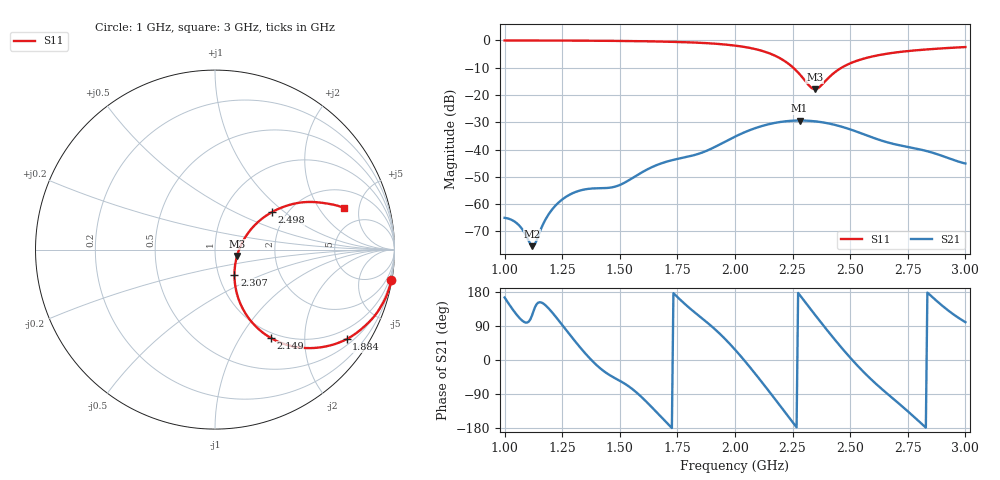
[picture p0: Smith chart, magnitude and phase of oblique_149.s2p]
! TOUCHSTONE file generated by CST MICROWAVE STUDIO
! Date and time: Tue Mar 18 00:02:23 2025
! Project name: oblique.cst
! Parameters = {Tilt=40; Fracture=1; B=10; D=160; F=25; Feed=2.85625; L=100; M=30; R=0.384908; S=1; Theta=180; length=57.125; wave=114.25}
! Header version: 2024
! Port assignment regex: !\s*Touchstone port\s*([0-9]+)\s*=\s*(CST MWS port|CST DES external port|CST DES block port)\s*(.+)\s* \(\"(.*)\"\)(\s*mode\s*([0-9]+))?.*
! Touchstone port assignment:
! Touchstone port 1 = CST MWS port 1 ("")
! Touchstone port 2 = CST MWS port 2 ("")
# GHz S DB R 50
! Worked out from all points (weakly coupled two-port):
!   304 points, 1 GHz to 3 GHz, reference 50 ohm
!   highest |S21| = -29.35 dB at 2.281 GHz (marker M1); lowest = -75.4 dB at 1.119 GHz (marker M2)
!   lowest |S11| = -17.9 dB at 2.347 GHz (marker M3), VSWR 1.29, Z = 63.8 - j4.58 ohm
!   |S11| at or under -10 dB: 2.253 GHz to 2.463 GHz (210 MHz wide, 8.91 % of centre)
!   S12 and S22 are empty: the file has one direction only
!   S11 on the Smith chart (normalised r, x): 1 GHz: 0, -12; 1.884 GHz: 0.67, -3.11; 2.149 GHz: 0.92, -1.37; 2.307 GHz: 1.19, -0.34; 2.498 GHz: 1.67, +0.81; 3 GHz: 3.23, +3.49
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1  -0.02 -9.8  -65.01 164.9  -200.00 0.0  -200.00 0.0
1.05941  -0.03 -10.6  -67.50 114.4  -200.00 0.0  -200.00 0.0
1.11881  -0.03 -11.5  -75.40 117.3  -200.00 0.0  -200.00 0.0
1.13201  -0.04 -11.7  -74.60 139.5  -200.00 0.0  -200.00 0.0
1.17162  -0.04 -12.3  -66.56 147.4  -200.00 0.0  -200.00 0.0
1.21782  -0.06 -13.1  -60.81 117.2  -200.00 0.0  -200.00 0.0
1.27063  -0.07 -14.0  -57.10 76.5  -200.00 0.0  -200.00 0.0
1.33663  -0.09 -15.2  -54.81 26.9  -200.00 0.0  -200.00 0.0
1.48845  -0.19 -18.7  -53.36 -51.0  -200.00 0.0  -200.00 0.0
1.66667  -0.40 -24.1  -45.48 -142.2  -200.00 0.0  -200.00 0.0
1.88449  -1.05 -34.3  -40.17 96.2  -200.00 0.0  -200.00 0.0
2.0033  -1.95 -43.0  -35.13 25.2  -200.00 0.0  -200.00 0.0
2.14851  -4.71 -57.8  -30.67 -83.3  -200.00 0.0  -200.00 0.0
2.22112  -7.89 -64.3  -29.63 -140.8  -200.00 0.0  -200.00 0.0
2.28053  -12.38 -61.6  -29.35 171.8  -200.00 0.0  -200.00 0.0
2.30693  -15.07 -52.1  -29.40 150.9  -200.00 0.0  -200.00 0.0
2.33993  -17.76 -23.6  -29.59 124.9  -200.00 0.0  -200.00 0.0
2.34653  -17.88 -16.1  -29.64 119.8  -200.00 0.0  -200.00 0.0
2.43894  -11.33 32.2  -31.07 49.5  -200.00 0.0  -200.00 0.0
2.49835  -8.47 33.4  -32.56 7.3  -200.00 0.0  -200.00 0.0
2.66997  -4.74 27.3  -37.56 -93.7  -200.00 0.0  -200.00 0.0
3  -2.44 17.9  -45.11 99.9  -200.00 0.0  -200.00 0.0
